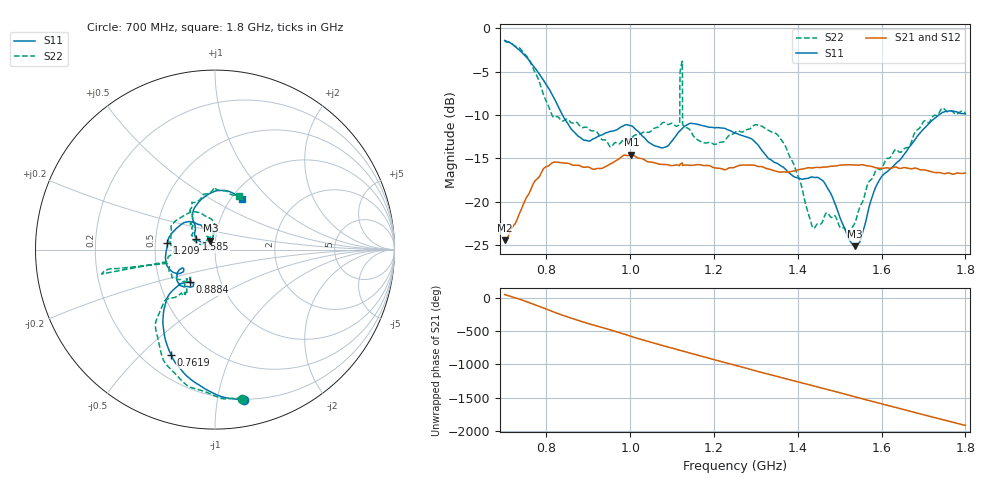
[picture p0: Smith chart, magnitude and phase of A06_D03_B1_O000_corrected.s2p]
! Created with skrf 1.9.0 (http://scikit-rf.org).
# Hz S RI R 50.0
!freq ReS11 ImS11 ReS21 ImS21 ReS12 ImS12 ReS22 ImS22
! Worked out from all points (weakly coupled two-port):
!   1601 points, 700 MHz to 1.8 GHz, reference 50 ohm
!   highest |S21| = -14.58 dB at 1.002 GHz (marker M1); lowest = -24.5 dB at 700.7 MHz (marker M2)
!   lowest |S11| = -25.2 dB at 1.536 GHz (marker M3), VSWR 1.12, Z = 47.3 + j4.65 ohm
!   |S11| at or under -10 dB: 838 MHz to 1.736 GHz (898.3 MHz wide, 69.8 % of centre)
!   |S22| runs from -23.7 to -1.5 dB; largest |S21 - S12| = 0.0035
!   S11 on the Smith chart (normalised r, x): 700 MHz: 0.20, -1.19; 761.9 MHz: 0.31, -0.62; 888.4 MHz: 0.71, -0.27; 1.209 GHz: 0.58, +0.04; 1.585 GHz: 0.81, +0.10; 1.8 GHz: 1.12, +0.71
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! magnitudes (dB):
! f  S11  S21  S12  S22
! 700 MHz  -1.4  -24.5  -24.3  -1.5
! 700.7 MHz  -1.4  -24.5  -24.2  -1.5
! 761.9 MHz  -3.9  -18.7  -18.6  -3.9
! 814.8 MHz  -7.8  -15.5  -15.6  -10.2
! 883.6 MHz  -12.7  -16.0  -15.9  -11.4
! 888.4 MHz  -12.9  -16.0  -15.9  -11.4
! 953 MHz  -11.9  -15.7  -15.7  -13.7
! 1.002 GHz  -11.2  -14.6  -14.7  -12.7
! 1.067 GHz  -13.7  -15.7  -15.6  -11.4
! 1.113 GHz  -12.2  -15.8  -15.9  -11.3
! 1.122 GHz  -11.7  -15.6  -15.5  -4.2
! 1.13 GHz  -11.3  -15.8  -15.9  -11.4
! 1.209 GHz  -11.4  -16.1  -16.2  -13.3
! 1.25 GHz  -12.1  -16.0  -16.0  -12.0
! 1.355 GHz  -15.7  -16.6  -16.5  -12.5
! 1.434 GHz  -17.2  -16.1  -16.1  -22.8
! 1.466 GHz  -18.0  -16.0  -16.0  -21.5
! 1.536 GHz  -25.2  -15.8  -15.8  -22.5
! 1.585 GHz  -18.4  -16.1  -16.1  -16.6
! 1.617 GHz  -16.4  -16.1  -16.1  -15.0
! 1.737 GHz  -10.0  -16.6  -16.7  -9.8
! 1.8 GHz  -9.9  -16.7  -16.7  -9.8
